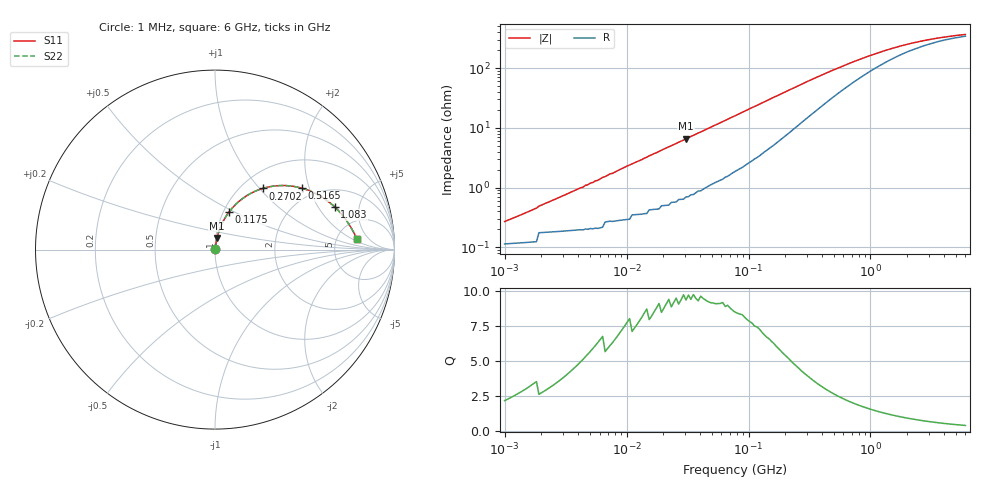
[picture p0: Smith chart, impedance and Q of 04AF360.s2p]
# MHz S MA R 50
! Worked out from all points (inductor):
!   189 points, 1 MHz to 6 GHz, reference 50 ohm
!   read as one part in series: L = 37.9 nH near 1.517 MHz
!   highest Q = 9.72 at 30.7 MHz (marker M1), where L = 33.8 nH
!   S11 on the Smith chart (normalised r, x): 1 MHz: 1.00, +0.00; 117.5 MHz: 1.06, +0.47; 270.2 MHz: 1.24, +1.04; 516.5 MHz: 1.70, +1.79; 1.083 GHz: 2.97, +2.84; 6 GHz: 7.84, +2.52
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1  0.002751 62.3  0.999 -0.1  0.999 -0.1  0.002751 62.3
4.396  0.01 78.2  0.998 -0.6  0.998 -0.6  0.01 78.2
4.605  0.011 78.4  0.998 -0.6  0.998 -0.6  0.011 78.4
4.823  0.011 78.7  0.998 -0.6  0.998 -0.6  0.011 78.7
5.051  0.012 78.9  0.998 -0.7  0.998 -0.7  0.012 78.9
5.803  0.013 79.5  0.998 -0.8  0.998 -0.8  0.013 79.5
6.366  0.015 79.8  0.998 -0.8  0.998 -0.8  0.015 79.8
7.66  0.017 80.4  0.997 -1.0  0.997 -1.0  0.017 80.4
9.655  0.022 80.9  0.997 -1.2  0.997 -1.2  0.022 80.9
18.454  0.04 81.2  0.995 -2.3  0.995 -2.3  0.04 81.2
30.7  0.065 80.2  0.991 -3.7  0.991 -3.7  0.065 80.2
77.46  0.154 74.5  0.97 -8.8  0.97 -8.8  0.154 74.5
117.475  0.225 69.4  0.945 -12.9  0.945 -12.9  0.225 69.4
178.161  0.32 61.9  0.895 -18.4  0.895 -18.4  0.32 61.9
270.198  0.432 52.0  0.809 -24.9  0.809 -24.9  0.432 52.0
340.538  0.495 45.9  0.746 -28.5  0.746 -28.5  0.495 45.9
516.457  0.594 35.1  0.617 -33.6  0.617 -33.6  0.594 35.1
747.836  0.661 26.6  0.505 -35.9  0.505 -35.9  0.661 26.6
1082.877  0.708 19.7  0.41 -35.5  0.41 -35.5  0.708 19.7
1429.415  0.733 15.6  0.354 -33.7  0.354 -33.7  0.733 15.6
2608.635  0.768 9.2  0.271 -26.8  0.271 -26.8  0.768 9.2
6000  0.793 4.3  0.217 -16.0  0.217 -16.0  0.793 4.3
